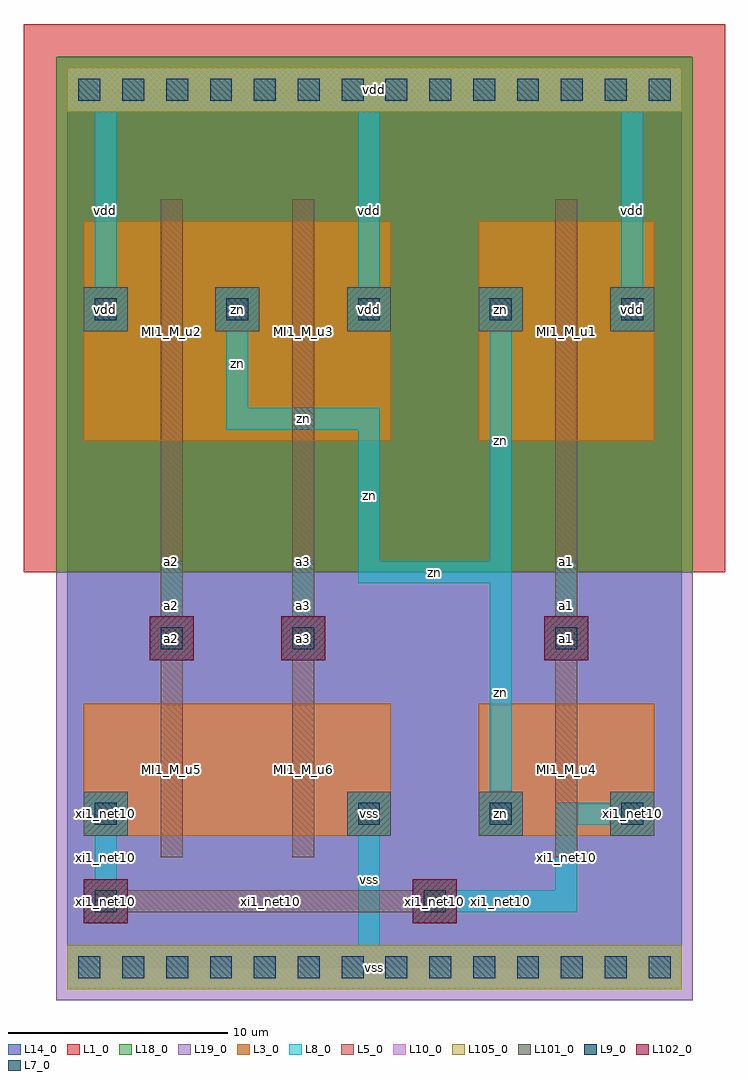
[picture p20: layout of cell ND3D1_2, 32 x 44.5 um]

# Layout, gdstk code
import gdstk
lib = gdstk.Library(unit=1e-6, precision=2.5e-07)
def R(c, l, rs):  # rectangles x0, y0, x1, y1
    for r in rs: c.add(gdstk.rectangle(r[:2], r[2:], *l))
def A(c, l, x, y, w, h, nx, ny, dx, dy):  # array of equal rectangles
    R(c, l, [(x+i*dx, y+j*dy, x+i*dx+w, y+j*dy+h) for i in range(nx) for j in range(ny)])
L1_0 = (1, 0)
L3_0 = (3, 0)
L5_0 = (5, 0)
L7_0 = (7, 0)
L8_0 = (8, 0)
L9_0 = (9, 0)
L10_0 = (10, 0)
L13_0 = (13, 0)
L14_0 = (14, 0)
L18_0 = (18, 0)
L19_0 = (19, 0)
L101_0 = (101, 0)
L102_0 = (102, 0)
L105_0 = (105, 0)

nd3d1_2 = lib.new_cell('ND3D1_2')
R(nd3d1_2, L1_0, [(-2,18,30,43)])
A(nd3d1_2, L3_0, 12.75, 6, 2, 2, 3, 1, 6, 0)
A(nd3d1_2, L3_0, 0.75, 29, 2, 2, 5, 1, 6, 0)
R(nd3d1_2, L3_0, [(0.75,6,8.75,12), (0.75,6,2.75,8), (6.75,6,14.75,12), (18.75,6,26.75,12), (0.75,24,8.75,34), (6.75,24,14.75,34), (18.75,24,26.75,34)])
R(nd3d1_2, L5_0, [(0.75,2,2.75,4), (15.75,2,17.75,4), (1.25,2.5,17.25,3.5), (4.25,5,5.25,13), (10.25,5,11.25,13), (22.25,5,23.25,13), (4.25,6.5,5.25,30.5), (10.25,6.5,11.25,30.5), (22.25,6.5,23.25,30.5), (3.75,14,5.75,16), (9.75,14,11.75,16), (21.75,14,23.75,16), (4.25,23,5.25,35), (10.25,23,11.25,35), (22.25,23,23.25,35)])
A(nd3d1_2, L7_0, 13.25, 6.5, 1, 1, 3, 1, 6, 0)
A(nd3d1_2, L7_0, 1.25, 29.5, 1, 1, 5, 1, 6, 0)
R(nd3d1_2, L7_0, [(1.25,2.5,2.25,3.5), (16.25,2.5,17.25,3.5), (1.25,6.5,2.25,7.5), (4.25,14.5,5.25,15.5), (10.25,14.5,11.25,15.5), (22.25,14.5,23.25,15.5)])
A(nd3d1_2, L8_0, 12.75, 6, 2, 2, 3, 1, 6, 0)
A(nd3d1_2, L8_0, 0.75, 29, 2, 2, 5, 1, 6, 0)
A(nd3d1_2, L8_0, 1.25, 29.5, 1, 10, 3, 1, 12, 0)
R(nd3d1_2, L8_0, [(0,-1,28,1), (13.25,0.5,14.25,7.5), (0.75,2,2.75,4), (15.75,2,17.75,4), (1.25,2.5,2.25,7.5), (16.25,2.5,23.25,3.5), (22.25,2.5,23.25,7.5), (0.75,6,2.75,8), (19.25,6.5,20.25,18.5), (22.25,6.5,26.25,7.5), (3.75,14,5.75,16), (9.75,14,11.75,16), (21.75,14,23.75,16), (4.25,14.5,5.25,18.5), (10.25,14.5,11.25,18.5), (22.25,14.5,23.25,18.5), (13.25,17.5,20.25,18.5), (13.25,17.5,14.25,25.5), (19.25,17.5,20.25,30.5), (7.25,24.5,14.25,25.5), (7.25,24.5,8.25,30.5), (0,39,28,41)])
A(nd3d1_2, L9_0, 0.5, -0.5, 1, 1, 14, 2, 2, 40)
R(nd3d1_2, L10_0, [(0,-1,28,1), (0,39,28,41)])
R(nd3d1_2, L14_0, [(0,0,28,40)])
R(nd3d1_2, L18_0, [(-0.5,18,28.5,38.5), (-0.5,38.5,28.5,41.5)])
R(nd3d1_2, L19_0, [(-0.5,-1.5,28.5,1.5), (-0.5,1.5,28.5,18)])
A(nd3d1_2, L101_0, 12.75, 6, 2, 2, 3, 1, 6, 0)
A(nd3d1_2, L101_0, 0.75, 29, 2, 2, 5, 1, 6, 0)
R(nd3d1_2, L101_0, [(0.75,6,2.75,8)])
R(nd3d1_2, L102_0, [(0.75,2,2.75,4), (15.75,2,17.75,4), (3.75,14,5.75,16), (9.75,14,11.75,16), (21.75,14,23.75,16)])
A(nd3d1_2, L105_0, 0, -1, 2, 2, 14, 2, 2, 40)
nd3d1_2.add(gdstk.FlexPath([(0.75,3),(26.75,3)], 0, ends="flush", simple_path=True, layer=13, datatype=0))  # L13_0
nd3d1_2.add(gdstk.FlexPath([(0.75,7),(26.75,7)], 0, ends="flush", simple_path=True, layer=13, datatype=0))  # L13_0
nd3d1_2.add(gdstk.FlexPath([(0.75,11),(26.75,11)], 0, ends="flush", simple_path=True, layer=13, datatype=0))  # L13_0
nd3d1_2.add(gdstk.FlexPath([(0.75,15),(26.75,15)], 0, ends="flush", simple_path=True, layer=13, datatype=0))  # L13_0
nd3d1_2.add(gdstk.FlexPath([(0.75,18),(26.75,18)], 0, ends="flush", simple_path=True, layer=13, datatype=0))  # L13_0
nd3d1_2.add(gdstk.FlexPath([(0.75,21),(26.75,21)], 0, ends="flush", simple_path=True, layer=13, datatype=0))  # L13_0
nd3d1_2.add(gdstk.FlexPath([(0.75,25),(26.75,25)], 0, ends="flush", simple_path=True, layer=13, datatype=0))  # L13_0
nd3d1_2.add(gdstk.FlexPath([(0.75,30),(26.75,30)], 0, ends="flush", simple_path=True, layer=13, datatype=0))  # L13_0
nd3d1_2.add(gdstk.FlexPath([(0.75,33),(26.75,33)], 0, ends="flush", simple_path=True, layer=13, datatype=0))  # L13_0
nd3d1_2.add(gdstk.FlexPath([(0.75,37),(26.75,37)], 0, ends="flush", simple_path=True, layer=13, datatype=0))  # L13_0
nd3d1_2.add(gdstk.FlexPath([(1.75,0.5),(1.75,39.5)], 0, ends="flush", simple_path=True, layer=13, datatype=0))  # L13_0
nd3d1_2.add(gdstk.FlexPath([(4.75,0.5),(4.75,39.5)], 0, ends="flush", simple_path=True, layer=13, datatype=0))  # L13_0
nd3d1_2.add(gdstk.FlexPath([(7.75,0.5),(7.75,39.5)], 0, ends="flush", simple_path=True, layer=13, datatype=0))  # L13_0
nd3d1_2.add(gdstk.FlexPath([(10.75,0.5),(10.75,39.5)], 0, ends="flush", simple_path=True, layer=13, datatype=0))  # L13_0
nd3d1_2.add(gdstk.FlexPath([(13.75,0.5),(13.75,39.5)], 0, ends="flush", simple_path=True, layer=13, datatype=0))  # L13_0
nd3d1_2.add(gdstk.FlexPath([(16.75,0.5),(16.75,39.5)], 0, ends="flush", simple_path=True, layer=13, datatype=0))  # L13_0
nd3d1_2.add(gdstk.FlexPath([(19.75,0.5),(19.75,39.5)], 0, ends="flush", simple_path=True, layer=13, datatype=0))  # L13_0
nd3d1_2.add(gdstk.FlexPath([(22.75,0.5),(22.75,39.5)], 0, ends="flush", simple_path=True, layer=13, datatype=0))  # L13_0
nd3d1_2.add(gdstk.FlexPath([(25.75,0.5),(25.75,39.5)], 0, ends="flush", simple_path=True, layer=13, datatype=0))  # L13_0
nd3d1_2.add(gdstk.Label('MI1_M_u4', (22.75,9), layer=3, texttype=0))
nd3d1_2.add(gdstk.Label('MI1_M_u5', (4.75,9), layer=3, texttype=0))
nd3d1_2.add(gdstk.Label('MI1_M_u6', (10.75,9), layer=3, texttype=0))
nd3d1_2.add(gdstk.Label('MI1_M_u3', (10.75,29), layer=3, texttype=0))
nd3d1_2.add(gdstk.Label('MI1_M_u1', (22.75,29), layer=3, texttype=0))
nd3d1_2.add(gdstk.Label('MI1_M_u2', (4.75,29), layer=3, texttype=0))
nd3d1_2.add(gdstk.Label('zn', (19.75,7), layer=3, texttype=0))
nd3d1_2.add(gdstk.Label('zn', (7.75,30), layer=3, texttype=0))
nd3d1_2.add(gdstk.Label('zn', (19.75,30), layer=3, texttype=0))
nd3d1_2.add(gdstk.Label('xi1_net10', (25.75,7), layer=3, texttype=0))
nd3d1_2.add(gdstk.Label('xi1_net10', (1.75,7), layer=3, texttype=0))
nd3d1_2.add(gdstk.Label('vss', (13.75,7), layer=3, texttype=0))
nd3d1_2.add(gdstk.Label('vdd', (13.75,30), layer=3, texttype=0))
nd3d1_2.add(gdstk.Label('vdd', (25.75,30), layer=3, texttype=0))
nd3d1_2.add(gdstk.Label('vdd', (1.75,30), layer=3, texttype=0))
nd3d1_2.add(gdstk.Label('zn', (19.75,7), layer=101, texttype=0))
nd3d1_2.add(gdstk.Label('zn', (7.75,30), layer=101, texttype=0))
nd3d1_2.add(gdstk.Label('zn', (19.75,30), layer=101, texttype=0))
nd3d1_2.add(gdstk.Label('xi1_net10', (25.75,7), layer=101, texttype=0))
nd3d1_2.add(gdstk.Label('xi1_net10', (1.75,7), layer=101, texttype=0))
nd3d1_2.add(gdstk.Label('vss', (13.75,7), layer=101, texttype=0))
nd3d1_2.add(gdstk.Label('vdd', (13.75,30), layer=101, texttype=0))
nd3d1_2.add(gdstk.Label('vdd', (25.75,30), layer=101, texttype=0))
nd3d1_2.add(gdstk.Label('vdd', (1.75,30), layer=101, texttype=0))
nd3d1_2.add(gdstk.Label('zn', (19.75,7), layer=8, texttype=0))
nd3d1_2.add(gdstk.Label('zn', (7.75,30), layer=8, texttype=0))
nd3d1_2.add(gdstk.Label('zn', (19.75,30), layer=8, texttype=0))
nd3d1_2.add(gdstk.Label('zn', (19.75,12.5), layer=8, texttype=0))
nd3d1_2.add(gdstk.Label('zn', (16.75,18), layer=8, texttype=0))
nd3d1_2.add(gdstk.Label('zn', (13.75,21.5), layer=8, texttype=0))
nd3d1_2.add(gdstk.Label('zn', (10.75,25), layer=8, texttype=0))
nd3d1_2.add(gdstk.Label('zn', (7.75,27.5), layer=8, texttype=0))
nd3d1_2.add(gdstk.Label('zn', (19.75,24), layer=8, texttype=0))
nd3d1_2.add(gdstk.Label('a1', (22.75,15), layer=8, texttype=0))
nd3d1_2.add(gdstk.Label('a1', (22.75,16.5), layer=8, texttype=0))
nd3d1_2.add(gdstk.Label('xi1_net10', (25.75,7), layer=8, texttype=0))
nd3d1_2.add(gdstk.Label('xi1_net10', (1.75,7), layer=8, texttype=0))
nd3d1_2.add(gdstk.Label('xi1_net10', (24.25,7), layer=8, texttype=0))
nd3d1_2.add(gdstk.Label('xi1_net10', (22.75,5), layer=8, texttype=0))
nd3d1_2.add(gdstk.Label('xi1_net10', (19.75,3), layer=8, texttype=0))
nd3d1_2.add(gdstk.Label('xi1_net10', (16.75,3), layer=8, texttype=0))
nd3d1_2.add(gdstk.Label('xi1_net10', (1.75,3), layer=8, texttype=0))
nd3d1_2.add(gdstk.Label('xi1_net10', (1.75,5), layer=8, texttype=0))
nd3d1_2.add(gdstk.Label('a2', (4.75,15), layer=8, texttype=0))
nd3d1_2.add(gdstk.Label('a2', (4.75,16.5), layer=8, texttype=0))
nd3d1_2.add(gdstk.Label('a3', (10.75,15), layer=8, texttype=0))
nd3d1_2.add(gdstk.Label('a3', (10.75,16.5), layer=8, texttype=0))
nd3d1_2.add(gdstk.Label('vss', (13.75,7), layer=8, texttype=0))
nd3d1_2.add(gdstk.Label('vss', (13.75,4), layer=8, texttype=0))
nd3d1_2.add(gdstk.Label('vdd', (13.75,30), layer=8, texttype=0))
nd3d1_2.add(gdstk.Label('vdd', (13.75,34.5), layer=8, texttype=0))
nd3d1_2.add(gdstk.Label('vdd', (25.75,30), layer=8, texttype=0))
nd3d1_2.add(gdstk.Label('vdd', (25.75,34.5), layer=8, texttype=0))
nd3d1_2.add(gdstk.Label('vdd', (1.75,30), layer=8, texttype=0))
nd3d1_2.add(gdstk.Label('vdd', (1.75,34.5), layer=8, texttype=0))
nd3d1_2.add(gdstk.Label('vss', (14,0), layer=8, texttype=0))
nd3d1_2.add(gdstk.Label('vdd', (14,40), layer=8, texttype=0))
nd3d1_2.add(gdstk.Label('vss', (14,0), layer=10, texttype=0))
nd3d1_2.add(gdstk.Label('vdd', (14,40), layer=10, texttype=0))
nd3d1_2.add(gdstk.Label('a1', (22.75,18.5), layer=5, texttype=0))
nd3d1_2.add(gdstk.Label('a1', (22.75,15), layer=5, texttype=0))
nd3d1_2.add(gdstk.Label('xi1_net10', (16.75,3), layer=5, texttype=0))
nd3d1_2.add(gdstk.Label('xi1_net10', (9.25,3), layer=5, texttype=0))
nd3d1_2.add(gdstk.Label('xi1_net10', (1.75,3), layer=5, texttype=0))
nd3d1_2.add(gdstk.Label('a2', (4.75,18.5), layer=5, texttype=0))
nd3d1_2.add(gdstk.Label('a2', (4.75,15), layer=5, texttype=0))
nd3d1_2.add(gdstk.Label('a3', (10.75,18.5), layer=5, texttype=0))
nd3d1_2.add(gdstk.Label('a3', (10.75,15), layer=5, texttype=0))
nd3d1_2.add(gdstk.Label('a1', (22.75,15), layer=102, texttype=0))
nd3d1_2.add(gdstk.Label('xi1_net10', (16.75,3), layer=102, texttype=0))
nd3d1_2.add(gdstk.Label('xi1_net10', (1.75,3), layer=102, texttype=0))
nd3d1_2.add(gdstk.Label('a2', (4.75,15), layer=102, texttype=0))
nd3d1_2.add(gdstk.Label('a3', (10.75,15), layer=102, texttype=0))

lib.write_gds('ND3D1_2.gds')
